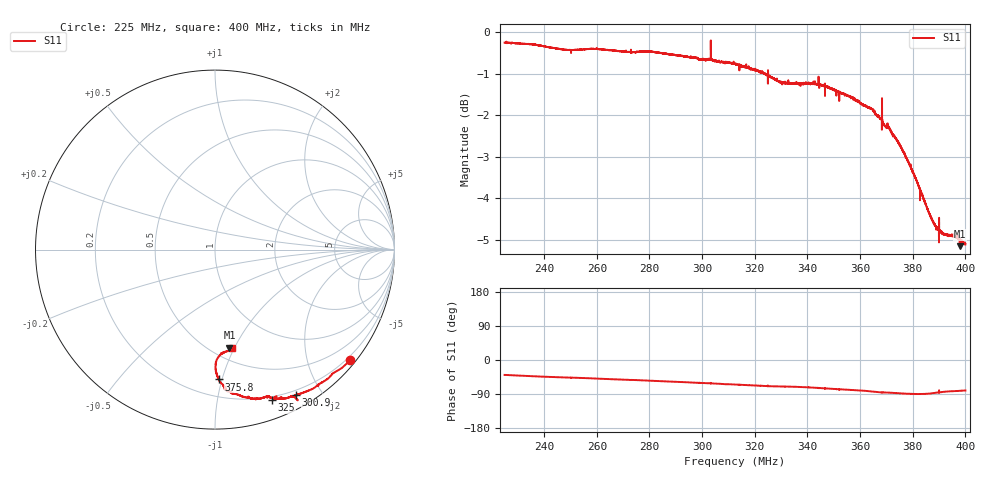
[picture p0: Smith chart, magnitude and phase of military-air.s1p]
! Calibrated averaged scanner-service zoom
# Hz S RI R 50
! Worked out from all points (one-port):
!   10001 points, 225 MHz to 400 MHz, reference 50 ohm
!   lowest |S11| = -5.1 dB at 397.9 MHz (marker M1), VSWR 3.47, Z = 30.3 - j47.8 ohm
!   |S11| at or under -10 dB: nowhere
!   S11 on the Smith chart (normalised r, x): 225 MHz: 0.13, -2.79; 300.9 MHz: 0.15, -1.69; 325 MHz: 0.17, -1.44; 375.8 MHz: 0.32, -0.98; 400 MHz: 0.62, -0.97
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2.25e8  0.7517 -0.6158
2.3753e8  0.7015 -0.6632
2.46875e8  0.6645 -0.6845
2.5699e8  0.6374 -0.7111
2.6875e8  0.5905 -0.7429
2.782525e8  0.5575 -0.7671
2.90625e8  0.5004 -0.7929
3.009325e8  0.4499 -0.8113
3.125e8  0.3904 -0.8296
3.250125e8  0.3177 -0.8375
3.3014e8  0.2999 -0.8172
3.34375e8  0.2892 -0.8187
3.417425e8  0.2579 -0.8294
3.45785e8  0.2309 -0.8317
3.5625e8  0.1608 -0.8198
3.613775e8  0.1269 -0.8073
3.6472e8  0.0978 -0.802
3.6808e8  0.0626 -0.7833
3.693925e8  0.056 -0.7694
3.711425e8  0.0506 -0.7648
3.758325e8  0.0222 -0.7233
3.78125e8  0.011 -0.701
3.81275e8  0.00308 -0.665
3.83935e8  0.00461 -0.6321
3.886425e8  0.0324 -0.5839
3.92755e8  0.0662 -0.5664
3.97865e8  0.0805 -0.5469
4e8  0.0925 -0.5477
